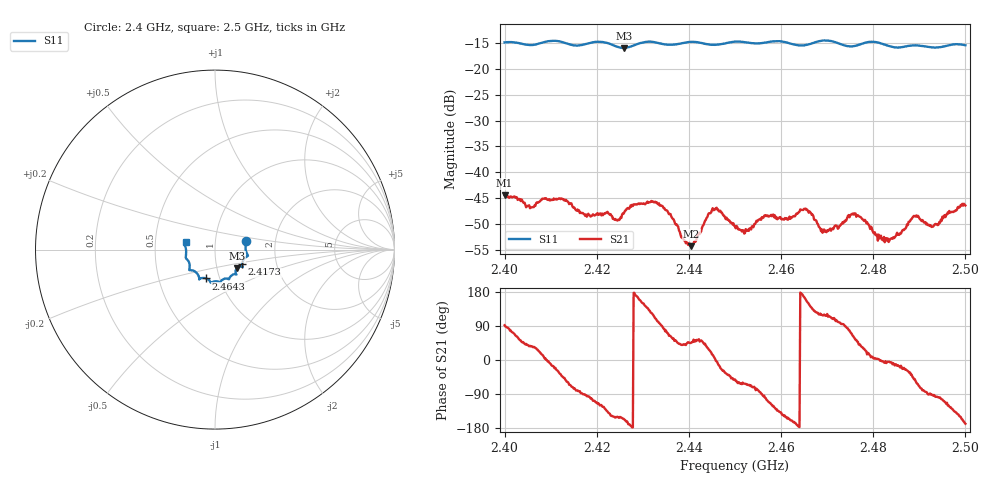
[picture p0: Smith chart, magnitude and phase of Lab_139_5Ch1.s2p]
# Hz S RI R 50
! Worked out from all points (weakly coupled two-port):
!   601 points, 2.4 GHz to 2.5 GHz, reference 50 ohm
!   highest |S21| = -44.44 dB at 2.4 GHz (marker M1); lowest = -54.3 dB at 2.4405 GHz (marker M2)
!   lowest |S11| = -15.9 dB at 2.4258 GHz (marker M3), VSWR 1.38, Z = 62.3 - j13.2 ohm
!   |S11| at or under -10 dB: start of sweep to end of sweep
!   S12 and S22 are empty: the file has one direction only
!   S11 on the Smith chart (normalised r, x): 2.4 GHz: 1.41, +0.14; 2.4173 GHz: 1.34, -0.23; 2.4643 GHz: 0.86, -0.28; 2.5 GHz: 0.72, +0.06
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2.4e9  0.1736 0.0493  -0.000168 0.006  0 0  0 0
2.405833e9  0.17 0.00432  0.00369 0.00272  0 0  0 0
2.412167e9  0.1797 -0.0371  0.00435 -0.00337  0 0  0 0
2.416667e9  0.1529 -0.0741  0.000156 -0.00404  0 0  0 0
2.417333e9  0.1521 -0.0818  -2.69e-05 -0.00392  0 0  0 0
2.424333e9  0.1341 -0.0949  -0.00303 -0.0017  0 0  0 0
2.425833e9  0.1217 -0.1031  -0.00362 -0.00168  0 0  0 0
2.433333e9  0.1136 -0.137  -0.000959 0.00482  0 0  0 0
2.4405e9  0.0784 -0.165  0.00135 0.00138  0 0  0 0
2.4455e9  0.0517 -0.1627  0.0043 0.000512  0 0  0 0
2.45e9  0.0289 -0.1812  0.00187 -0.00233  0 0  0 0
2.4525e9  0.0205 -0.1792  0.00117 -0.00248  0 0  0 0
2.456333e9  -0.00888 -0.1789  -0.000284 -0.00379  0 0  0 0
2.461e9  -0.0268 -0.179  -0.00312 -0.00175  0 0  0 0
2.464333e9  -0.05 -0.1607  -0.00432 0.000381  0 0  0 0
2.466667e9  -0.0762 -0.1591  -0.00285 0.00263  0 0  0 0
2.4695e9  -0.0886 -0.1661  -0.00127 0.00234  0 0  0 0
2.476333e9  -0.12 -0.1177  0.00225 0.00296  0 0  0 0
2.483333e9  -0.1406 -0.0898  0.00212 -0.000166  0 0  0 0
2.488833e9  -0.1626 -0.0456  0.0024 -0.00294  0 0  0 0
2.492833e9  -0.1604 -0.0159  -0.000139 -0.00297  0 0  0 0
2.5e9  -0.1637 0.0424  -0.00468 -0.000987  0 0  0 0
